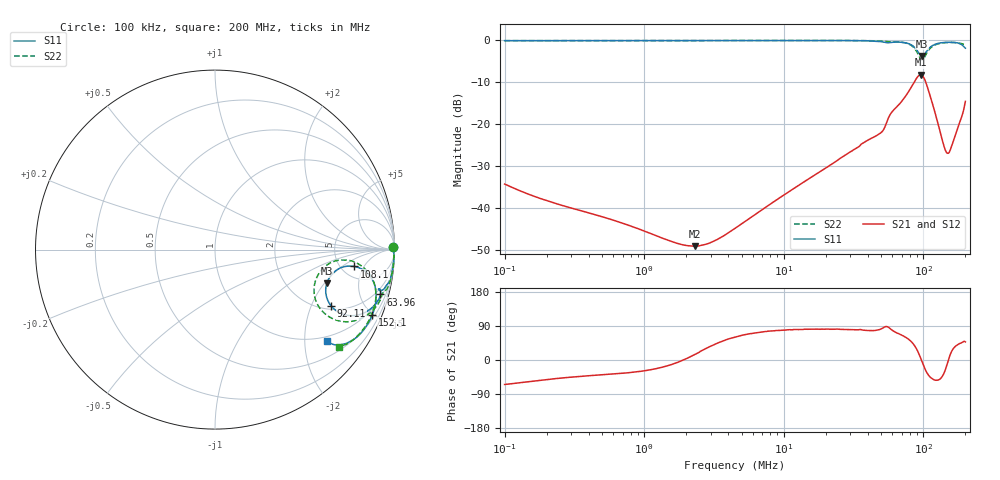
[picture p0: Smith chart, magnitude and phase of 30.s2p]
#  HZ  S  RI  R  50.00
! Rohde & Schwarz Vector Network Analyzer
! Rohde-Schwarz,ZNLE6-2Port,1323001256200024,1.71.1.10-23.02.1.238
! Created: UTC 4/7/2025, 5:40:18 AM
! freq[Hz]  re:S11  im:S11  re:S21  im:S21  re:S12  im:S12  re:S22  im:S22
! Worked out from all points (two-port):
!   1001 points, 100 kHz to 200 MHz, reference 50 ohm
!   highest |S21| = -8.20 dB at 95.68 MHz (marker M1); lowest = -49.1 dB at 2.308 MHz (marker M2)
!   |S21| within 3 dB of the highest: 81.84 MHz to 107 MHz (25.19 MHz wide, 26.7 % of centre)
!   lowest |S11| = -3.7 dB at 97.89 MHz (marker M3), VSWR 4.73, Z = 163 - j106 ohm
!   |S11| at or under -10 dB: nowhere
!   |S22| runs from -4.6 to 0.0 dB; largest |S21 - S12| = 0.0094
!   S11 on the Smith chart (normalised r, x): 100 kHz: open; 63.96 MHz: 1.28, -7.29; 92.11 MHz: 2.16, -2.81; 108.1 MHz: 6.59, -3.17; 152.1 MHz: 0.67, -4.92; 200 MHz: 0.86, -2.55
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100000  0.9919 0.0171  0.00826 -0.0174  0.00828 -0.0175  0.9919 0.0171
355854.1  0.9932 0.00535  0.00675 -0.00629  0.00677 -0.00631  0.9934 0.00536
1266322  0.9958 -0.00148  0.00424 -0.00166  0.00425 -0.00167  0.9959 -0.00163
2308476  0.9966 -0.00666  0.00339 0.000884  0.00339 0.000887  0.9965 -0.00673
3081517  0.9969 -0.00997  0.00309 0.00246  0.00311 0.00243  0.9973 -0.0102
4472136  0.997 -0.0165  0.0028 0.00497  0.00286 0.00493  0.9977 -0.016
1.591428e7  0.9953 -0.064  0.00361 0.0233  0.00385 0.0232  0.9956 -0.065
4.901618e7  0.9443 -0.2159  0.0124 0.0768  0.0142 0.076  0.9577 -0.2194
5.663162e7  0.912 -0.2183  0.00956 0.1219  0.0128 0.121  0.9312 -0.2446
6.395515e7  0.9218 -0.2497  0.0487 0.1512  0.0502 0.1505  0.9189 -0.2844
7.445538e7  0.878 -0.3208  0.1066 0.1869  0.1125 0.1833  0.8608 -0.3553
8.344716e7  0.7869 -0.3662  0.2051 0.2069  0.2115 0.2012  0.751 -0.4012
9.211385e7  0.647 -0.314  0.3559 0.1242  0.3599 0.1157  0.5875 -0.331
9.568197e7  0.6171 -0.2385  0.3879 0.0305  0.3896 0.0217  0.5519 -0.2383
9.788884e7  0.6234 -0.1869  0.3805 -0.0328  0.3808 -0.0413  0.5594 -0.175
1.032382e8  0.6972 -0.1028  0.2958 -0.1409  0.2937 -0.1475  0.65 -0.0706
1.080554e8  0.7755 -0.0937  0.2054 -0.1631  0.2026 -0.1676  0.746 -0.06
1.21105e8  0.8796 -0.1726  0.0828 -0.1104  0.0806 -0.1117  0.869 -0.1477
1.409882e8  0.8941 -0.3023  0.0447 -0.0296  0.0436 -0.0303  0.8953 -0.28
1.521223e8  0.8763 -0.3643  0.0454 0.00248  0.0449 0.00141  0.8799 -0.3392
1.744261e8  0.804 -0.4754  0.0661 0.0544  0.0677 0.0514  0.8207 -0.4508
2e8  0.6259 -0.5115  0.1258 0.1387  0.1309 0.1354  0.693 -0.5442
